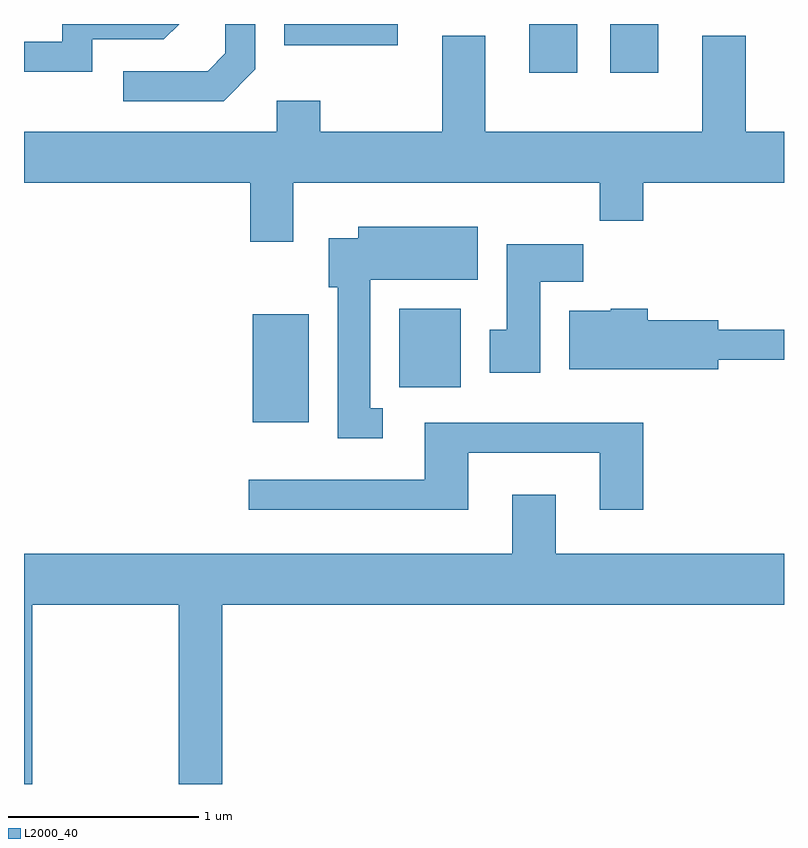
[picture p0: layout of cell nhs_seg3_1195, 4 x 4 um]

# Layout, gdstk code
import gdstk
lib = gdstk.Library(unit=1e-6, precision=1e-09)
def R(c, l, rs):  # rectangles x0, y0, x1, y1
    for r in rs: c.add(gdstk.rectangle(r[:2], r[2:], *l))
def P(c, l, *ps):  # polygons
    for p in ps: c.add(gdstk.Polygon(p, *l))
L2000_40 = (2000, 40)

nhs_seg3_1195 = lib.new_cell('nhs_seg3_1195')
R(nhs_seg3_1195, L2000_40, [(220.816,1195.796,221.109,1196.364), (221.586,1195.981,221.909,1196.394), (222.271,1197.636,222.524,1197.892), (222.696,1197.636,222.949,1197.892), (220.981,1197.781,221.579,1197.892)])
P(nhs_seg3_1195, L2000_40, [(219.969,1197.811),(220.347,1197.811),(220.428,1197.892),(219.811,1197.892),(219.811,1197.799),(219.611,1197.799),(219.611,1197.641),(219.969,1197.641)],
  [(220.829,1197.654),(220.829,1197.892),(220.671,1197.892),(220.671,1197.737),(220.579,1197.644),(220.133,1197.644),(220.133,1197.486),(220.662,1197.486)],
  [(221.029,1197.056),(222.641,1197.056),(222.641,1196.856),(222.869,1196.856),(222.869,1197.056),(223.611,1197.056),(223.611,1197.324),(223.409,1197.324),(223.409,1197.829),(223.181,1197.829),(223.181,1197.324),(222.039,1197.324),(222.039,1197.829),(221.811,1197.829),(221.811,1197.324),(221.169,1197.324),(221.169,1197.489),(220.941,1197.489),(220.941,1197.324),(219.611,1197.324),(219.611,1197.056),(220.801,1197.056),(220.801,1196.746),(221.029,1196.746)],
  [(221.498,1195.869),(221.434,1195.869),(221.434,1196.546),(221.999,1196.546),(221.999,1196.824),(221.371,1196.824),(221.371,1196.764),(221.216,1196.764),(221.216,1196.506),(221.261,1196.506),(221.261,1195.711),(221.498,1195.711)],
  [(222.329,1196.536),(222.554,1196.536),(222.554,1196.734),(222.151,1196.734),(222.151,1196.284),(222.061,1196.284),(222.061,1196.056),(222.329,1196.056)],
  [(223.264,1196.126),(223.611,1196.126),(223.611,1196.284),(223.264,1196.284),(223.264,1196.334),(222.894,1196.334),(222.894,1196.394),(222.7,1196.394),(222.7,1196.384),(222.481,1196.384),(222.481,1196.076),(223.264,1196.076)],
  [(221.949,1195.636),(222.641,1195.636),(222.641,1195.336),(222.869,1195.336),(222.869,1195.794),(221.721,1195.794),(221.721,1195.494),(220.793,1195.494),(220.793,1195.336),(221.949,1195.336)],
  [(219.654,1194.836),(220.426,1194.836),(220.426,1193.892),(220.654,1193.892),(220.654,1194.836),(223.611,1194.836),(223.611,1195.104),(222.409,1195.104),(222.409,1195.414),(222.181,1195.414),(222.181,1195.104),(219.611,1195.104),(219.611,1193.892),(219.654,1193.892)])

lib.write_gds('nhs_seg3_1195.gds')
